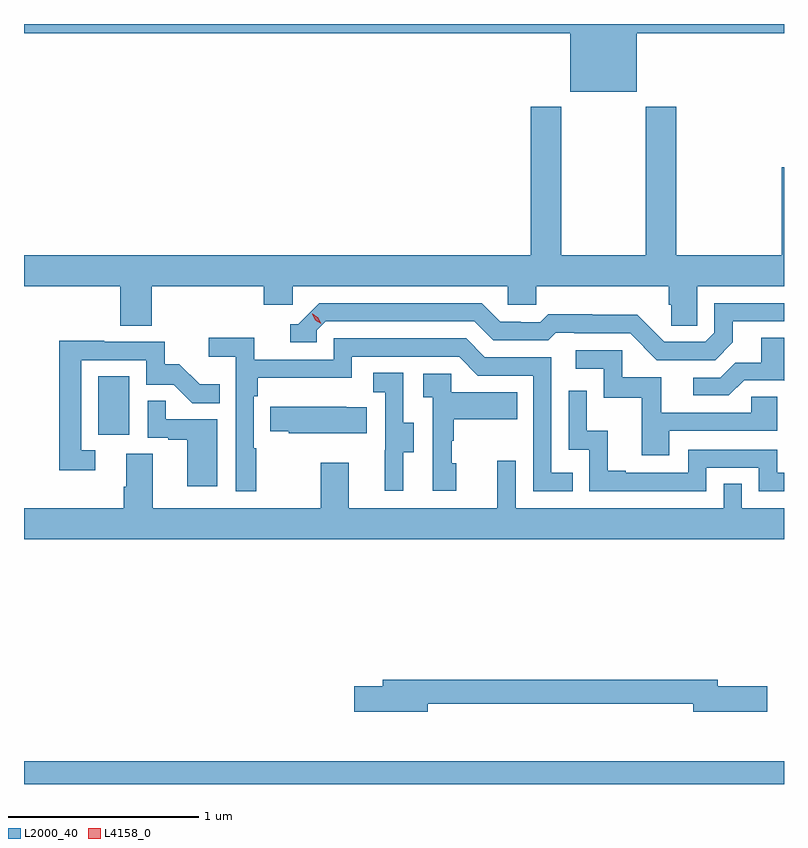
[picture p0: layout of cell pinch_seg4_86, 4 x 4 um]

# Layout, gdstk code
import gdstk
lib = gdstk.Library(unit=1e-6, precision=1e-09)
def R(c, l, rs):  # rectangles x0, y0, x1, y1
    for r in rs: c.add(gdstk.rectangle(r[:2], r[2:], *l))
def P(c, l, *ps):  # polygons
    for p in ps: c.add(gdstk.Polygon(p, *l))
L2000_40 = (2000, 40)
L4158_0 = (4158, 0)

pinch_seg4_86 = lib.new_cell('pinch_seg4_86')
R(pinch_seg4_86, L2000_40, [(1071.134,826.168,1075.134,826.288), (1071.524,828.006,1071.688,828.313)])
P(pinch_seg4_86, L2000_40, [(1074.358,830.12),(1075.134,830.12),(1075.134,830.168),(1071.134,830.168),(1071.134,830.12),(1074.008,830.12),(1074.008,829.811),(1074.358,829.811)],
  [(1071.806,828.788),(1072.397,828.788),(1072.397,828.69),(1072.548,828.69),(1072.548,828.788),(1073.679,828.788),(1073.679,828.69),(1073.829,828.69),(1073.829,828.788),(1074.527,828.788),(1074.527,828.69),(1074.541,828.69),(1074.541,828.58),(1074.678,828.58),(1074.678,828.788),(1075.134,828.788),(1075.134,829.414),(1075.121,829.414),(1075.121,828.952),(1074.566,828.952),(1074.566,829.732),(1074.406,829.732),(1074.406,828.952),(1073.961,828.952),(1073.961,829.732),(1073.801,829.732),(1073.801,828.952),(1071.134,828.952),(1071.134,828.788),(1071.641,828.788),(1071.641,828.58),(1071.806,828.58)],
  [(1074.865,828.493),(1074.865,828.603),(1075.134,828.603),(1075.134,828.699),(1074.768,828.699),(1074.768,828.543),(1074.72,828.495),(1074.504,828.495),(1074.362,828.637),(1074.126,828.637),(1074.126,828.64),(1073.893,828.64),(1073.851,828.597),(1073.748,828.597),(1073.748,828.6),(1073.641,828.6),(1073.542,828.699),(1072.689,828.699),(1072.578,828.588),(1072.535,828.588),(1072.535,828.492),(1072.674,828.492),(1072.674,828.555),(1072.722,828.603),(1073.505,828.603),(1073.604,828.504),(1073.893,828.504),(1073.932,828.543),(1074.031,828.543),(1074.031,828.54),(1074.324,828.54),(1074.465,828.399),(1074.771,828.399)],
  [(1074.925,828.294),(1075.131,828.294),(1075.134,828.291),(1075.134,828.518),(1075.013,828.518),(1075.013,828.386),(1074.878,828.386),(1074.798,828.306),(1074.657,828.306),(1074.657,828.213),(1074.844,828.213)],
  [(1072.357,827.936),(1072.344,827.936),(1072.344,828.209),(1072.364,828.209),(1072.364,828.305),(1072.86,828.305),(1072.86,828.417),(1073.424,828.417),(1073.523,828.318),(1073.814,828.318),(1073.814,827.709),(1074.023,827.709),(1074.023,827.805),(1073.91,827.805),(1073.91,828.414),(1073.56,828.414),(1073.461,828.513),(1072.764,828.513),(1072.764,828.402),(1072.346,828.402),(1072.346,828.518),(1072.107,828.518),(1072.107,828.416),(1072.248,828.416),(1072.248,827.709),(1072.357,827.709)],
  [(1071.508,827.925),(1071.435,827.925),(1071.435,828.399),(1071.777,828.399),(1071.777,828.27),(1071.921,828.27),(1072.019,828.172),(1072.163,828.172),(1072.163,828.271),(1072.059,828.271),(1071.952,828.378),(1071.876,828.378),(1071.876,828.495),(1071.557,828.495),(1071.557,828.5),(1071.319,828.5),(1071.319,827.82),(1071.508,827.82)],
  [(1074.529,828.027),(1075.098,828.027),(1075.098,828.207),(1074.961,828.207),(1074.961,828.123),(1074.487,828.123),(1074.487,828.309),(1074.282,828.309),(1074.282,828.45),(1074.039,828.45),(1074.039,828.354),(1074.186,828.354),(1074.186,828.201),(1074.385,828.201),(1074.385,827.898),(1074.529,827.898)],
  [(1073.131,827.914),(1073.185,827.914),(1073.185,828.069),(1073.13,828.069),(1073.13,828.332),(1072.971,828.332),(1072.971,828.229),(1073.034,828.229),(1073.034,827.925),(1073.033,827.925),(1073.033,827.712),(1073.131,827.712)],
  [(1073.41,827.856),(1073.385,827.856),(1073.385,827.975),(1073.395,827.975),(1073.395,828.089),(1073.729,828.089),(1073.729,828.229),(1073.382,828.229),(1073.382,828.327),(1073.235,828.327),(1073.235,828.203),(1073.286,828.203),(1073.286,827.712),(1073.41,827.712)],
  [(1074.726,827.832),(1075.002,827.832),(1075.002,827.709),(1075.134,827.709),(1075.134,827.805),(1075.098,827.805),(1075.098,827.928),(1074.63,827.928),(1074.63,827.805),(1074.301,827.805),(1074.301,827.818),(1074.206,827.818),(1074.206,828.026),(1074.096,828.026),(1074.096,828.238),(1074,828.238),(1074,827.928),(1074.108,827.928),(1074.108,827.709),(1074.726,827.709)],
  [(1072.15,828.087),(1071.881,828.087),(1071.881,828.185),(1071.786,828.185),(1071.786,827.991),(1071.893,827.991),(1071.893,827.979),(1071.992,827.979),(1071.992,827.736),(1072.15,827.736)],
  [(1072.937,828.151),(1072.829,828.151),(1072.829,828.154),(1072.429,828.154),(1072.429,828.025),(1072.527,828.025),(1072.527,828.014),(1072.937,828.014)],
  [(1075.134,827.62),(1074.912,827.62),(1074.912,827.747),(1074.816,827.747),(1074.816,827.62),(1073.721,827.62),(1073.721,827.869),(1073.624,827.869),(1073.624,827.62),(1072.843,827.62),(1072.843,827.86),(1072.696,827.86),(1072.696,827.62),(1071.811,827.62),(1071.811,827.906),(1071.671,827.906),(1071.671,827.732),(1071.659,827.732),(1071.659,827.62),(1071.134,827.62),(1071.134,827.456),(1075.134,827.456)],
  [(1073.26,826.59),(1074.656,826.59),(1074.656,826.547),(1075.045,826.547),(1075.045,826.682),(1074.784,826.682),(1074.784,826.718),(1073.021,826.718),(1073.021,826.682),(1072.872,826.682),(1072.872,826.547),(1073.26,826.547)])
P(pinch_seg4_86, L4158_0, [(1072.699,828.59),(1072.668,828.61),(1072.652,828.642),(1072.652,828.642),(1072.653,828.642),(1072.683,828.623),(1072.699,828.59),(1072.699,828.59)])

lib.write_gds('pinch_seg4_86.gds')
